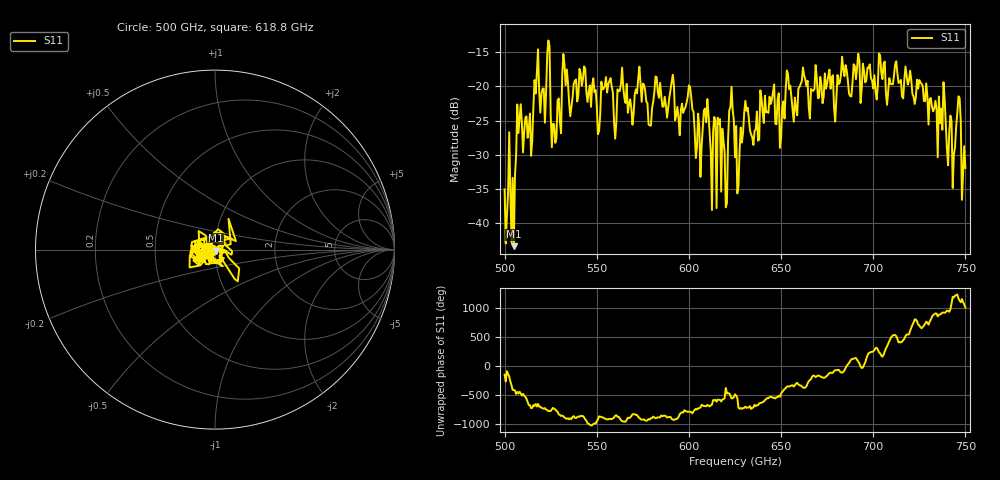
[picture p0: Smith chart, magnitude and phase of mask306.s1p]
!Created with skrf (http://scikit-rf.org).
# GHz S MA R 50.0
!freq magS11 angS11
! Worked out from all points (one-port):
!   401 points, 500 GHz to 750 GHz, reference 50 ohm
!   lowest |S11| = -43.4 dB at 505 GHz (marker M1), VSWR 1.01, Z = 50.4 - j0.538 ohm
!   |S11| at or under -10 dB: start of sweep to end of sweep
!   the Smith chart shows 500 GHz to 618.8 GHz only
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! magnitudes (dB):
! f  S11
! 500 GHz  -35.1
! 505 GHz  -43.4
! 508.1 GHz  -24.7
! 513.8 GHz  -24.0
! 517.5 GHz  -18.0
! 520.6 GHz  -20.3
! 523.8 GHz  -13.3
! 526.9 GHz  -25.6
! 531.2 GHz  -18.4
! 542.5 GHz  -18.9
! 550.6 GHz  -27.0
! 562.5 GHz  -20.6
! 574.4 GHz  -22.3
! 578.8 GHz  -25.7
! 590.6 GHz  -19.3
! 593.8 GHz  -23.0
! 600.6 GHz  -20.1
! 605 GHz  -24.0
! 609.4 GHz  -25.2
! 620 GHz  -37.7
! 623.1 GHz  -20.0
! 625 GHz  -30.4
! 656.2 GHz  -23.3
! 687.5 GHz  -21.4
! 718.8 GHz  -19.7
! 743.8 GHz  -30.0
! 746.2 GHz  -21.4
! 750 GHz  -32.0
